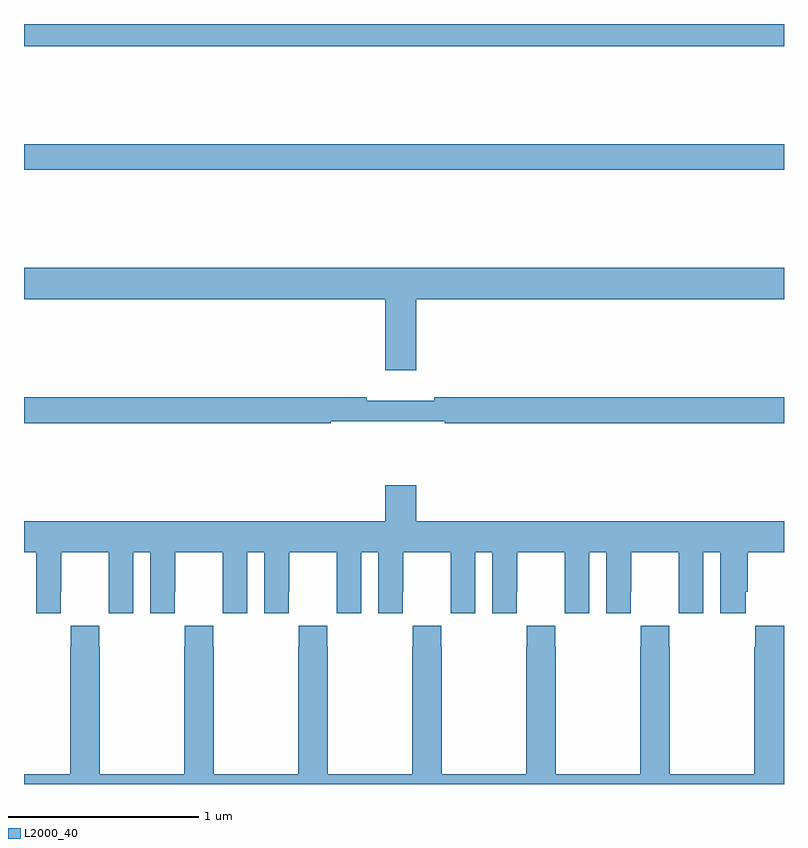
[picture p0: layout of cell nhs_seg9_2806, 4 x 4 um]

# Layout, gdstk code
import gdstk
lib = gdstk.Library(unit=1e-6, precision=1e-09)
def R(c, l, rs):  # rectangles x0, y0, x1, y1
    for r in rs: c.add(gdstk.rectangle(r[:2], r[2:], *l))
def P(c, l, *ps):  # polygons
    for p in ps: c.add(gdstk.Polygon(p, *l))
L2000_40 = (2000, 40)

nhs_seg9_2806 = lib.new_cell('nhs_seg9_2806')
R(nhs_seg9_2806, L2000_40, [(271,1231.732,275,1231.868), (271,1232.384,275,1232.5)])
P(nhs_seg9_2806, L2000_40, [(273.064,1231.052),(275,1231.052),(275,1231.216),(271,1231.216),(271,1231.052),(272.9,1231.052),(272.9,1230.678),(273.064,1230.678)],
  [(272.614,1230.408),(273.214,1230.408),(273.214,1230.4),(275,1230.4),(275,1230.536),(273.16,1230.536),(273.16,1230.517),(272.804,1230.517),(272.804,1230.536),(271,1230.536),(271,1230.4),(272.614,1230.4)],
  [(271,1229.72),(271.064,1229.72),(271.064,1229.4),(271.194,1229.4),(271.194,1229.512),(271.195,1229.512),(271.195,1229.72),(271.445,1229.72),(271.445,1229.512),(271.446,1229.512),(271.446,1229.4),(271.576,1229.4),(271.576,1229.72),(271.664,1229.72),(271.664,1229.4),(271.794,1229.4),(271.794,1229.512),(271.795,1229.512),(271.795,1229.72),(272.045,1229.72),(272.045,1229.512),(272.046,1229.512),(272.046,1229.4),(272.176,1229.4),(272.176,1229.72),(272.264,1229.72),(272.264,1229.4),(272.394,1229.4),(272.394,1229.512),(272.395,1229.512),(272.395,1229.72),(272.645,1229.72),(272.645,1229.512),(272.646,1229.512),(272.646,1229.4),(272.776,1229.4),(272.776,1229.72),(272.864,1229.72),(272.864,1229.4),(272.994,1229.4),(272.994,1229.512),(272.995,1229.512),(272.995,1229.72),(273.245,1229.72),(273.245,1229.512),(273.246,1229.512),(273.246,1229.4),(273.376,1229.4),(273.376,1229.72),(273.464,1229.72),(273.464,1229.4),(273.594,1229.4),(273.594,1229.512),(273.595,1229.512),(273.595,1229.72),(273.845,1229.72),(273.845,1229.512),(273.846,1229.512),(273.846,1229.4),(273.976,1229.4),(273.976,1229.72),(274.064,1229.72),(274.064,1229.4),(274.194,1229.4),(274.194,1229.512),(274.195,1229.512),(274.195,1229.72),(274.445,1229.72),(274.445,1229.512),(274.446,1229.512),(274.446,1229.4),(274.576,1229.4),(274.576,1229.72),(274.664,1229.72),(274.664,1229.4),(274.798,1229.4),(274.798,1229.512),(274.808,1229.512),(274.808,1229.72),(275,1229.72),(275,1229.884),(273.064,1229.884),(273.064,1230.073),(272.9,1230.073),(272.9,1229.884),(271,1229.884)],
  [(271,1228.5),(275,1228.5),(275,1229.332),(274.849,1229.332),(274.849,1229.219),(274.843,1229.219),(274.843,1228.552),(274.398,1228.552),(274.398,1229.219),(274.395,1229.219),(274.395,1229.332),(274.245,1229.332),(274.245,1229.219),(274.243,1229.219),(274.243,1228.552),(273.798,1228.552),(273.798,1229.219),(273.795,1229.219),(273.795,1229.332),(273.645,1229.332),(273.645,1229.219),(273.643,1229.219),(273.643,1228.552),(273.198,1228.552),(273.198,1229.219),(273.195,1229.219),(273.195,1229.332),(273.045,1229.332),(273.045,1229.219),(273.043,1229.219),(273.043,1228.552),(272.598,1228.552),(272.598,1229.219),(272.595,1229.219),(272.595,1229.332),(272.445,1229.332),(272.445,1229.219),(272.443,1229.219),(272.443,1228.552),(271.998,1228.552),(271.998,1229.219),(271.995,1229.219),(271.995,1229.332),(271.845,1229.332),(271.845,1229.219),(271.843,1229.219),(271.843,1228.552),(271.398,1228.552),(271.398,1229.219),(271.395,1229.219),(271.395,1229.332),(271.245,1229.332),(271.245,1229.219),(271.243,1229.219),(271.243,1228.552),(271,1228.552)])

lib.write_gds('nhs_seg9_2806.gds')
